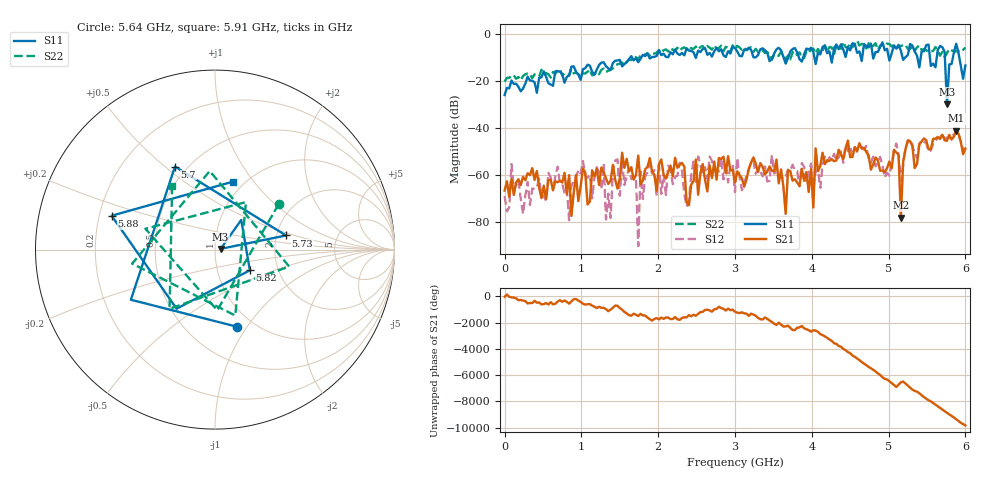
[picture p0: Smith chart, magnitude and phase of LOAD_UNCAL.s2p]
#  HZ  S  DB  R  50.0
! Rohde & Schwarz ZVL13 2Ports - Version 3.20 - 1303.6509k13 SN: 100953
! Date: 2024-10-09 07:56:49
! Data & Calibration Information:
! Trc1:S11(Cal Off) Trc4:S21(Cal Off) Trc2:S12(Cal Off) Trc3:S22(Cal Off)
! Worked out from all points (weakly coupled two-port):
!   201 points, 9 kHz to 6 GHz, reference 50 ohm
!   highest |S21| = -41.13 dB at 5.88 GHz (marker M1); lowest = -78.1 dB at 5.16 GHz (marker M2)
!   lowest |S11| = -30.0 dB at 5.76 GHz (marker M3), VSWR 1.06, Z = 53.2 + j0.421 ohm
!   |S11| at or under -10 dB: start of sweep to 1.641 GHz; 1.657 GHz to 1.783 GHz (126.7 MHz wide, 7.36 % of centre); 5.538 GHz to 5.628 GHz (90.24 MHz wide, 1.62 % of centre) (the widest 3 of 19)
!   |S22| runs from -20.4 to -2.9 dB; largest |S21 - S12| = 0.0039
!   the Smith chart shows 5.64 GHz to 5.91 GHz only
!   S11 on the Smith chart (normalised r, x): 5.64 GHz: 0.84, -0.90; 5.7 GHz: 0.43, +0.54; 5.73 GHz: 2.25, +0.42; 5.82 GHz: 1.43, -0.35; 5.88 GHz: 0.25, +0.15; 5.91 GHz: 0.89, +0.80
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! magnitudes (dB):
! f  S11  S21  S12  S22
! 9 kHz  -26.1  -66.6  -68.9  -20.4
! 690 MHz  -16.0  -63.1  -56.4  -15.5
! 840 MHz  -17.7  -60.1  -79.2  -17.9
! 1.02 GHz  -15.1  -57.2  -54.1  -16.9
! 1.74 GHz  -12.2  -51.8  -90.2  -11.0
! 1.77 GHz  -10.7  -63.9  -58.4  -9.3
! 2.01 GHz  -7.2  -55.4  -55.7  -7.0
! 3 GHz  -6.1  -63.2  -67.2  -6.4
! 4.02 GHz  -7.9  -73.8  -64.7  -6.4
! 4.05 GHz  -12.9  -48.7  -58.6  -8.5
! 5.01 GHz  -11.5  -54.3  -60.3  -4.5
! 5.13 GHz  -4.8  -51.4  -51.8  -5.7
! 5.16 GHz  -7.3  -78.1  -62.4  -5.2
! 5.25 GHz  -9.1  -45.3  -46.1  -6.5
! 5.64 GHz  -7.0  -43.8  -44.3  -7.2
! 5.7 GHz  -5.8  -42.9  -42.5  -7.9
! 5.73 GHz  -7.9  -45.2  -44.7  -10.0
! 5.76 GHz  -30.0  -45.5  -44.1  -8.3
! 5.82 GHz  -12.9  -44.9  -43.3  -7.2
! 5.88 GHz  -4.4  -41.1  -41.0  -7.6
! 5.91 GHz  -8.1  -42.6  -42.1  -7.4
! 6 GHz  -13.6  -48.8  -50.0  -6.0
